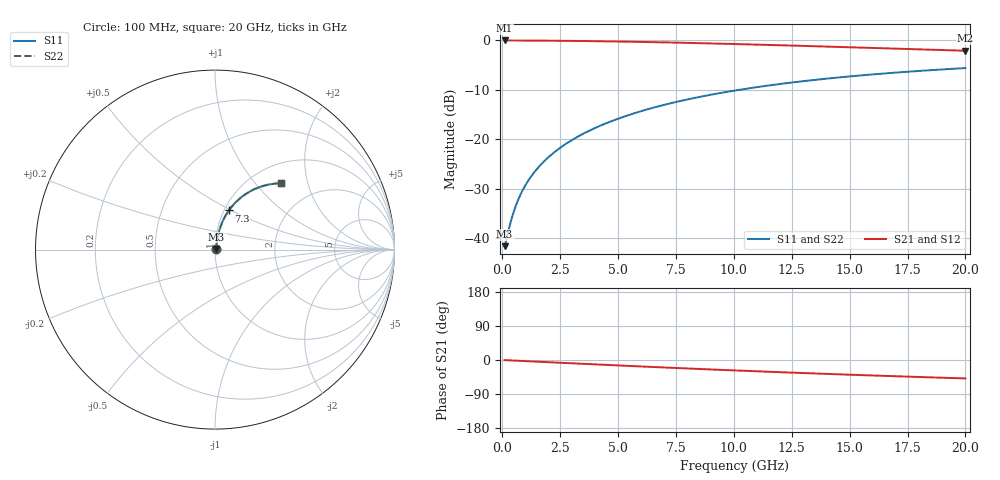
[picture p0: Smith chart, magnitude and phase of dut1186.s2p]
! Touchstone file exported from HFSS 2024.1.0
!  File:  C:/UserFiles/LocalFiles/RDL_TSV_Batchsim/temp_RDL_bottom_1186_1780057462.aedt
!  Generated:  08:26:42 PM May 29, 2026
!  Design:  RDL_bottom
!  Project:  temp_RDL_bottom_1186_1780057462
!  Setup:  Setup1
!  Solution:  Sweep
! Variables:
!  dtsv = 10.80580581um
!  hbump = 3um
!  htsv = 77.4um
!  ldown = 626.49um
!  lrdl = 100um
!  p = 40
!  p1 = 49.84um
!  rhole = 1um
!  t = 450um
!  tdown = 2.24um
!  trdl = 3.915915916um
!  wdown = 13.11um
!  wrdl = 20um
# GHz S MA R 50.000000
! Terminal data exported
! Port[1] = RDL1_T1
! Port[2] = RDL1_T2
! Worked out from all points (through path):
!   200 points, 100 MHz to 20 GHz, reference 50 ohm
!   highest |S21| = -0.07 dB at 100 MHz (marker M1); lowest = -2.1 dB at 20 GHz (marker M2)
!   group delay of S21, straight-line fit = 6.77 ps
!   lowest |S11| = -41.6 dB at 100 MHz (marker M3), VSWR 1.02, Z = 50.8 + j0.346 ohm
!   |S11| at or under -10 dB: start of sweep to 10.27 GHz
!   |S22| runs from -41.6 to -5.6 dB; largest |S21 - S12| = 3e-15
!   S11 on the Smith chart (normalised r, x): 100 MHz: 1.02, +0.01; 7.3 GHz: 1.05, +0.49; 20 GHz: 1.36, +1.38
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0.1  0.008352 24.0  0.9924 -0.3  0.9924 -0.3  0.008352 24.0
! Gamma 0 0 0 0
! Port Impedance 50 0 50 0
0.4  0.01574 59.1  0.992 -1.2  0.992 -1.2  0.01574 59.1
0.6  0.02186 66.8  0.9915 -1.8  0.9915 -1.8  0.02186 66.8
0.7  0.02499 69.1  0.9913 -2.1  0.9913 -2.1  0.02499 69.1
0.9  0.03129 72.2  0.9908 -2.7  0.9908 -2.7  0.03129 72.2
1.2  0.04077 74.9  0.9899 -3.6  0.9899 -3.6  0.04077 74.8
1.4  0.0471 75.9  0.9893 -4.1  0.9893 -4.1  0.0471 75.9
1.7  0.05661 76.9  0.9883 -5.0  0.9883 -5.0  0.05661 76.9
2.2  0.07249 77.6  0.9863 -6.4  0.9863 -6.4  0.07249 77.6
2.8  0.0916 77.7  0.9835 -8.2  0.9835 -8.2  0.09159 77.7
3.5  0.1139 77.2  0.9794 -10.2  0.9794 -10.2  0.1139 77.2
4.2  0.1361 76.3  0.9747 -12.1  0.9747 -12.1  0.136 76.3
5  0.1612 75.0  0.9684 -14.4  0.9684 -14.4  0.1612 75.0
5.9  0.1892 73.3  0.9604 -16.8  0.9604 -16.8  0.1892 73.3
6.8  0.2167 71.5  0.9515 -19.3  0.9515 -19.3  0.2167 71.5
7.3  0.2317 70.5  0.9462 -20.6  0.9462 -20.6  0.2317 70.5
8.6  0.2698 67.7  0.9314 -23.9  0.9314 -23.9  0.2698 67.7
10.1  0.3117 64.5  0.913 -27.7  0.913 -27.7  0.3117 64.5
11.7  0.3537 61.1  0.8921 -31.5  0.8921 -31.5  0.3536 61.1
13.4  0.3949 57.5  0.8693 -35.4  0.8693 -35.4  0.3949 57.5
16.7  0.465 50.9  0.8246 -42.3  0.8246 -42.3  0.4649 50.9
20  0.5225 44.9  0.7815 -48.6  0.7815 -48.6  0.5224 44.9
